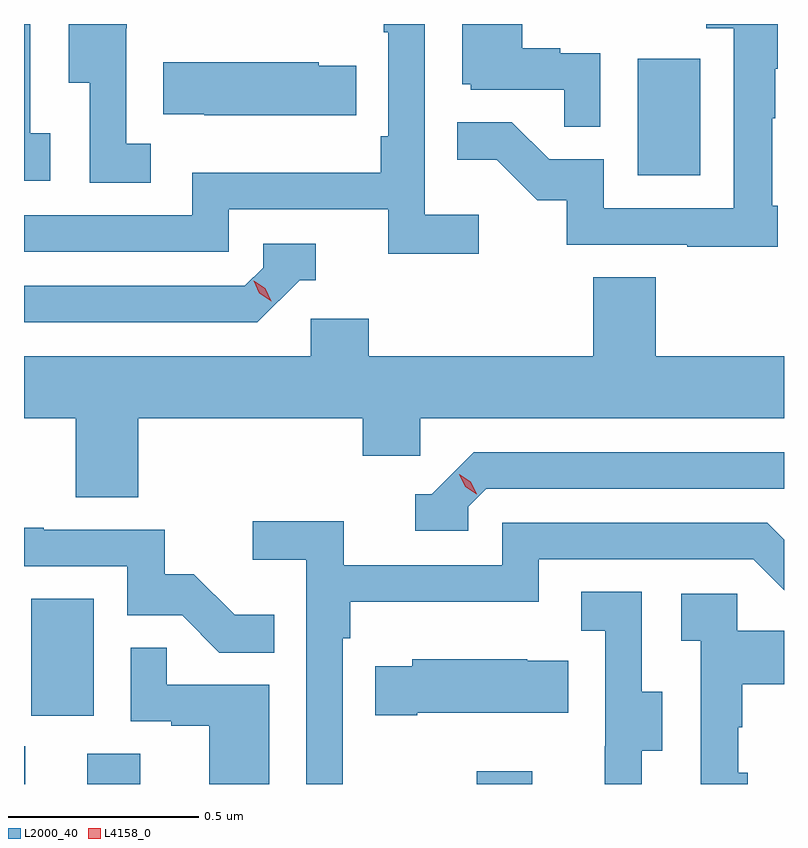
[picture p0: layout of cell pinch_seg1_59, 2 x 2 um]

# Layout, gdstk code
import gdstk
lib = gdstk.Library(unit=1e-6, precision=1e-09)
def R(c, l, rs):  # rectangles x0, y0, x1, y1
    for r in rs: c.add(gdstk.rectangle(r[:2], r[2:], *l))
def P(c, l, *ps):  # polygons
    for p in ps: c.add(gdstk.Polygon(p, *l))
L2000_40 = (2000, 40)
L4158_0 = (4158, 0)

pinch_seg1_59 = lib.new_cell('pinch_seg1_59')
R(pinch_seg1_59, L2000_40, [(1072.837,564.09,1072.84,564.189), (1073.003,564.09,1073.143,564.17), (1074.028,564.09,1074.175,564.124), (1072.856,564.27,1073.02,564.577), (1074.452,565.692,1074.616,565.999)])
P(pinch_seg1_59, L2000_40, [(1072.906,565.802),(1072.854,565.802),(1072.854,566.09),(1072.837,566.09),(1072.837,565.677),(1072.906,565.677)],
  [(1074.821,565.612),(1074.806,565.612),(1074.806,565.842),(1074.814,565.842),(1074.814,565.972),(1074.821,565.972),(1074.821,566.09),(1074.633,566.09),(1074.633,566.079),(1074.705,566.079),(1074.705,565.605),(1074.363,565.605),(1074.363,565.734),(1074.219,565.734),(1074.121,565.832),(1073.977,565.832),(1073.977,565.733),(1074.081,565.733),(1074.188,565.626),(1074.265,565.626),(1074.265,565.509),(1074.583,565.509),(1074.583,565.504),(1074.821,565.504)],
  [(1074.354,566.013),(1074.248,566.013),(1074.248,566.026),(1074.148,566.026),(1074.148,566.09),(1073.99,566.09),(1073.99,565.932),(1074.012,565.932),(1074.012,565.917),(1074.259,565.917),(1074.259,565.819),(1074.354,565.819)],
  [(1074.034,565.588),(1073.892,565.588),(1073.892,566.09),(1073.784,566.09),(1073.784,566.068),(1073.796,566.068),(1073.796,565.795),(1073.776,565.795),(1073.776,565.699),(1073.28,565.699),(1073.28,565.587),(1072.837,565.587),(1072.837,565.491),(1073.376,565.491),(1073.376,565.602),(1073.795,565.602),(1073.795,565.486),(1074.034,565.486)],
  [(1073.17,565.775),(1073.106,565.775),(1073.106,566.079),(1073.108,566.079),(1073.108,566.09),(1072.955,566.09),(1072.955,565.936),(1073.01,565.936),(1073.01,565.672),(1073.17,565.672)],
  [(1073.711,565.98),(1073.613,565.98),(1073.613,565.99),(1073.203,565.99),(1073.203,565.853),(1073.311,565.853),(1073.311,565.85),(1073.711,565.85)],
  [(1073.562,565.416),(1073.605,565.416),(1073.605,565.512),(1073.466,565.512),(1073.466,565.449),(1073.418,565.401),(1072.837,565.401),(1072.837,565.305),(1073.451,565.305)],
  [(1073.138,565.052),(1073.729,565.052),(1073.729,564.954),(1073.88,564.954),(1073.88,565.052),(1074.837,565.052),(1074.837,565.216),(1074.5,565.216),(1074.5,565.424),(1074.335,565.424),(1074.335,565.216),(1073.744,565.216),(1073.744,565.314),(1073.592,565.314),(1073.592,565.216),(1072.837,565.216),(1072.837,565.052),(1072.973,565.052),(1072.973,564.844),(1073.138,564.844)],
  [(1074.006,564.819),(1074.054,564.867),(1074.837,564.867),(1074.837,564.963),(1074.021,564.963),(1073.91,564.852),(1073.867,564.852),(1073.867,564.756),(1074.006,564.756)],
  [(1073.676,564.473),(1073.696,564.473),(1073.696,564.569),(1074.192,564.569),(1074.192,564.681),(1074.756,564.681),(1074.837,564.6),(1074.837,564.733),(1074.793,564.777),(1074.096,564.777),(1074.096,564.666),(1073.678,564.666),(1073.678,564.782),(1073.439,564.782),(1073.439,564.68),(1073.58,564.68),(1073.58,564.09),(1073.676,564.09)],
  [(1073.495,564.535),(1073.391,564.535),(1073.284,564.642),(1073.208,564.642),(1073.208,564.759),(1072.889,564.759),(1072.889,564.764),(1072.837,564.764),(1072.837,564.663),(1073.109,564.663),(1073.109,564.534),(1073.253,564.534),(1073.351,564.436),(1073.495,564.436)],
  [(1074.463,564.178),(1074.517,564.178),(1074.517,564.333),(1074.462,564.333),(1074.462,564.596),(1074.303,564.596),(1074.303,564.493),(1074.366,564.493),(1074.366,564.189),(1074.365,564.189),(1074.365,564.09),(1074.463,564.09)],
  [(1074.742,564.12),(1074.717,564.12),(1074.717,564.239),(1074.727,564.239),(1074.727,564.353),(1074.837,564.353),(1074.837,564.493),(1074.714,564.493),(1074.714,564.591),(1074.567,564.591),(1074.567,564.467),(1074.618,564.467),(1074.618,564.09),(1074.742,564.09)],
  [(1073.482,564.351),(1073.213,564.351),(1073.213,564.449),(1073.118,564.449),(1073.118,564.255),(1073.225,564.255),(1073.225,564.243),(1073.324,564.243),(1073.324,564.09),(1073.482,564.09)],
  [(1073.872,564.278),(1074.269,564.278),(1074.269,564.415),(1074.161,564.415),(1074.161,564.418),(1073.859,564.418),(1073.859,564.4),(1073.761,564.4),(1073.761,564.271),(1073.872,564.271)])
P(pinch_seg1_59, L4158_0, [(1074.029,564.852),(1073.998,564.872),(1073.982,564.904),(1073.982,564.905),(1073.982,564.905),(1074.013,564.885),(1074.029,564.852),(1074.029,564.852)],
  [(1073.487,565.361),(1073.456,565.381),(1073.441,565.414),(1073.441,565.414),(1073.441,565.414),(1073.472,565.394),(1073.487,565.361),(1073.487,565.361)])

lib.write_gds('pinch_seg1_59.gds')
